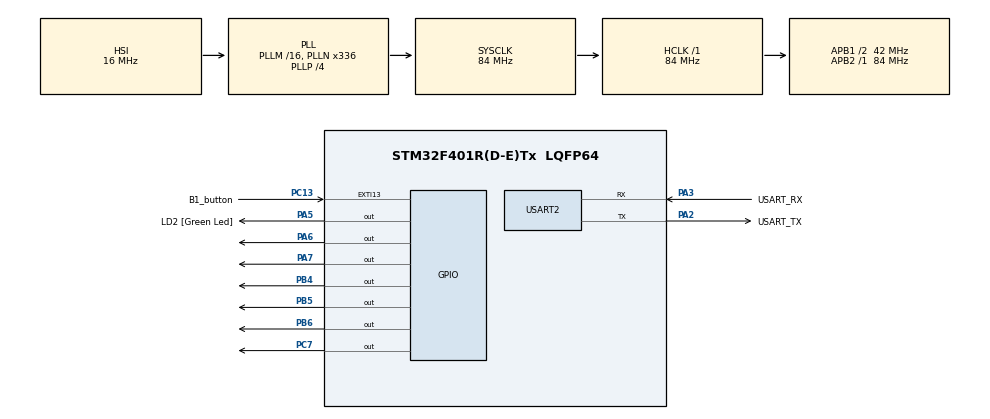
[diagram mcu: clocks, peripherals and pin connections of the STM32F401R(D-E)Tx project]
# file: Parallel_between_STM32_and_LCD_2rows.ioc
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Mcu.Family=STM32F4
Mcu.Name=STM32F401R(D-E)Tx
Mcu.Package=LQFP64
NVIC.EXTI15_10_IRQn=true\:0\:0\:false\:false\:true\:true\:true\:true
NVIC.PriorityGroup=NVIC_PRIORITYGROUP_0
PA13.GPIO_Label=TMS
PA13.Mode=Serial_Wire
PA13.Signal=SYS_JTMS-SWDIO
PA14.GPIO_Label=TCK
PA14.Mode=Serial_Wire
PA14.Signal=SYS_JTCK-SWCLK
PA2.GPIO_Label=USART_TX
PA2.GPIO_Mode=GPIO_MODE_AF_PP
PA2.GPIO_PuPd=GPIO_NOPULL
PA2.GPIO_Speed=GPIO_SPEED_FREQ_LOW
PA2.Mode=Asynchronous
PA2.Signal=USART2_TX
PA3.GPIO_Label=USART_RX
PA3.GPIO_Mode=GPIO_MODE_AF_PP
PA3.GPIO_PuPd=GPIO_NOPULL
PA3.GPIO_Speed=GPIO_SPEED_FREQ_LOW
PA3.Mode=Asynchronous
PA3.Signal=USART2_RX
PA5.GPIO_Label=LD2 [Green Led]
PA5.GPIO_Mode=GPIO_MODE_OUTPUT_PP
PA5.GPIO_PuPd=GPIO_NOPULL
PA5.GPIO_Speed=GPIO_SPEED_FREQ_LOW
PA5.Signal=GPIO_Output
PA6.Signal=GPIO_Output
PA7.Signal=GPIO_Output
PB3.GPIO_Label=SWO
PB3.Signal=SYS_JTDO-SWO
PB4.Signal=GPIO_Output
PB5.Signal=GPIO_Output
PB6.Signal=GPIO_Output
PC13-ANTI_TAMP.GPIO_Label=B1_button
PC13-ANTI_TAMP.GPIO_ModeDefaultEXTI=GPIO_MODE_IT_FALLING
PC13-ANTI_TAMP.Signal=GPXTI13
PC14-OSC32_IN.Mode=LSE-External-Oscillator
PC14-OSC32_IN.Signal=RCC_OSC32_IN
PC15-OSC32_OUT.Mode=LSE-External-Oscillator
PC15-OSC32_OUT.Signal=RCC_OSC32_OUT
PC7.Signal=GPIO_Output
PH0\ -\ OSC_IN.Mode=HSE-External-Clock-Source
PH0\ -\ OSC_IN.Signal=RCC_OSC_IN
PH1\ -\ OSC_OUT.Mode=HSE-External-Clock-Source
PH1\ -\ OSC_OUT.Signal=RCC_OSC_OUT
ProjectManager.HeapSize=0x200
ProjectManager.StackSize=0x400
ProjectManager.TargetToolchain=STM32CubeIDE
RCC.48MHZClocksFreq_Value=48000000
RCC.AHBFreq_Value=84000000
RCC.APB1CLKDivider=RCC_HCLK_DIV2
RCC.APB1Freq_Value=42000000
RCC.APB1TimFreq_Value=84000000
RCC.APB2Freq_Value=84000000
RCC.APB2TimFreq_Value=84000000
RCC.CortexFreq_Value=84000000
RCC.HCLKFreq_Value=84000000
RCC.HSE_VALUE=8000000
RCC.HSI_VALUE=16000000
RCC.PLLN=336
RCC.PLLP=RCC_PLLP_DIV4
RCC.PLLQ=7
RCC.SYSCLKFreq_VALUE=84000000
RCC.SYSCLKSource=RCC_SYSCLKSOURCE_PLLCLK
RCC.VCOOutputFreq_Value=336000000
USART2.VirtualMode=VM_ASYNC
board=NUCLEO-F401RE

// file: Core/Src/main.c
/* USER CODE BEGIN Header */
/**
  ******************************************************************************
  * @file           : main.c
  * @brief          : Main program body
  ******************************************************************************
  * @attention
  *
  * Copyright (c) 2022 STMicroelectronics.
  * All rights reserved.
  *
  * This software is licensed under terms that can be found in the LICENSE file
  * in the root directory of this software component.
  * If no LICENSE file comes with this software, it is provided AS-IS.
  *
  ******************************************************************************
  */
/* USER CODE END Header */
#include "main.h"
#include "usart.h"
#include "gpio.h"
/* USER CODE BEGIN Includes */
#include "lcd.h"

#include <stdbool.h>
/* USER CODE END Includes */

/* USER CODE BEGIN PD */
#define CHECK_BUTTON HAL_GPIO_ReadPin(B1_button_GPIO_Port, B1_button_Pin)
#define PRESSED 0
/* USER CODE END PD */

/* USER CODE BEGIN PV */
static bool prev_val = false;
extern Lcd_HandleTypeDef MyLcd;
/* USER CODE END PV */

void SystemClock_Config(void);
/* USER CODE BEGIN PFP */
void HAL_GPIO_EXTI_Callback(uint16_t GPIO_Pin);
/* USER CODE END PFP */

int main(void)
{

  /* MCU Configuration--------------------------------------------------------*/

  /* Reset of all peripherals, Initializes the Flash interface and the Systick. */
  HAL_Init();

  /* Configure the system clock */
  SystemClock_Config();

  /* Initialize all configured peripherals */
  MX_GPIO_Init();
  MX_USART2_UART_Init();
  /* USER CODE BEGIN 2 */
  uint16_t button_val = 0;
  // Lcd_PortType ports[] = { D4_GPIO_Port, D5_GPIO_Port, D6_GPIO_Port, D7_GPIO_Port };
   Lcd_PortType ports[] = { GPIOC, GPIOB, GPIOA, GPIOA };
   // Lcd_PinType pins[] = {D4_Pin, D5_Pin, D6_Pin, D7_Pin};
   Lcd_PinType pins[] = {GPIO_PIN_7, GPIO_PIN_6, GPIO_PIN_7, GPIO_PIN_6};

   // Lcd_create(ports, pins, RS_GPIO_Port, RS_Pin, EN_GPIO_Port, EN_Pin, LCD_4_BIT_MODE);
   MyLcd = Lcd_create(ports, pins, GPIOB, GPIO_PIN_5, GPIOB, GPIO_PIN_4, LCD_4_BIT_MODE);
   /*Lcd_cursor(&lcd, 0,1);
   Lcd_string(&lcd, "Ciao a tutti");
   Lcd_cursor(&lcd, 1, 1);
   Lcd_string(&lcd, "Buon Halloween");*/

   //per far lampeggiare un LED senza interrupt
   /*if(CHECK_BUTTON == PRESSED)
   	  {
   		  HAL_GPIO_WritePin(LD2_GPIO_Port, LD2_Pin, SET);
   	  }
   	  else
   	  {
   		  HAL_GPIO_WritePin(LD2_GPIO_Port, LD2_Pin, RESET);
   	  }*/

  /* USER CODE END 2 */

  /* Infinite loop */
  while (1)
  {

  }
}

void SystemClock_Config(void)
{
  RCC_OscInitTypeDef RCC_OscInitStruct = {0};
  RCC_ClkInitTypeDef RCC_ClkInitStruct = {0};

  /** Configure the main internal regulator output voltage
  */
  __HAL_RCC_PWR_CLK_ENABLE();
  __HAL_PWR_VOLTAGESCALING_CONFIG(PWR_REGULATOR_VOLTAGE_SCALE2);

  /** Initializes the RCC Oscillators according to the specified parameters
  * in the RCC_OscInitTypeDef structure.
  */
  RCC_OscInitStruct.OscillatorType = RCC_OSCILLATORTYPE_HSI;
  RCC_OscInitStruct.HSIState = RCC_HSI_ON;
  RCC_OscInitStruct.HSICalibrationValue = RCC_HSICALIBRATION_DEFAULT;
  RCC_OscInitStruct.PLL.PLLState = RCC_PLL_ON;
  RCC_OscInitStruct.PLL.PLLSource = RCC_PLLSOURCE_HSI;
  RCC_OscInitStruct.PLL.PLLM = 16;
  RCC_OscInitStruct.PLL.PLLN = 336;
  RCC_OscInitStruct.PLL.PLLP = RCC_PLLP_DIV4;
  RCC_OscInitStruct.PLL.PLLQ = 7;
  if (HAL_RCC_OscConfig(&RCC_OscInitStruct) != HAL_OK)
  {
    Error_Handler();
  }

  /** Initializes the CPU, AHB and APB buses clocks
  */
  RCC_ClkInitStruct.ClockType = RCC_CLOCKTYPE_HCLK|RCC_CLOCKTYPE_SYSCLK
                              |RCC_CLOCKTYPE_PCLK1|RCC_CLOCKTYPE_PCLK2;
  RCC_ClkInitStruct.SYSCLKSource = RCC_SYSCLKSOURCE_PLLCLK;
  RCC_ClkInitStruct.AHBCLKDivider = RCC_SYSCLK_DIV1;
  RCC_ClkInitStruct.APB1CLKDivider = RCC_HCLK_DIV2;
  RCC_ClkInitStruct.APB2CLKDivider = RCC_HCLK_DIV1;

  if (HAL_RCC_ClockConfig(&RCC_ClkInitStruct, FLASH_LATENCY_2) != HAL_OK)
  {
    Error_Handler();
  }
}

/* USER CODE BEGIN 4 */
void HAL_GPIO_EXTI_Callback(uint16_t GPIO_Pin)
{
	/*Lcd_PortType ports[] = { GPIOC, GPIOB, GPIOA, GPIOA };
	Lcd_PinType pins[] = {GPIO_PIN_7, GPIO_PIN_6, GPIO_PIN_7, GPIO_PIN_6};
	Lcd_HandleTypeDef lcd;
	lcd = Lcd_create(ports, pins, GPIOB, GPIO_PIN_5, GPIOB, GPIO_PIN_4, LCD_4_BIT_MODE);*/

	if(GPIO_Pin == B1_button_Pin)
	{

		if(prev_val == false)
		{
			HAL_GPIO_WritePin(LD2_GPIO_Port, LD2_Pin, GPIO_PIN_SET);
			//Lcd_cursor(&lcd, 0,1);
			//Lcd_string(&lcd, "Ciao a tutti");
			prev_val = true;
		}
		else
		{
			HAL_GPIO_WritePin(LD2_GPIO_Port, LD2_Pin, GPIO_PIN_RESET);
			Lcd_clear(&MyLcd);
			Lcd_cursor(&MyLcd, 1, 1);
			Lcd_string(&MyLcd, "Buon Halloween");
			prev_val = false;
		}
	}
}
/* USER CODE END 4 */

void Error_Handler(void)
{
  __disable_irq();
  while (1)
  {
  }
}
